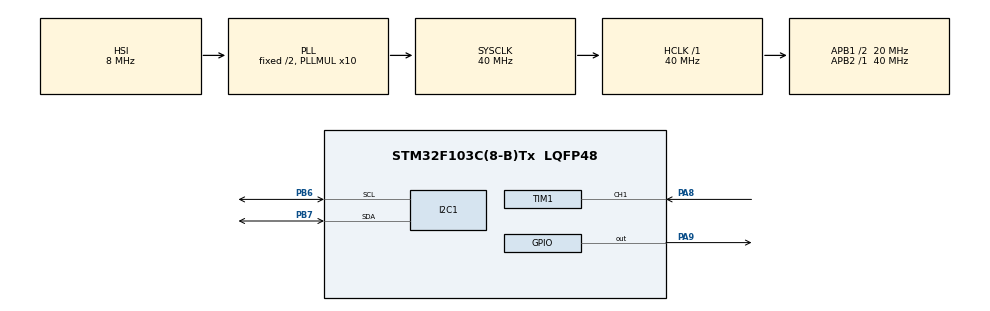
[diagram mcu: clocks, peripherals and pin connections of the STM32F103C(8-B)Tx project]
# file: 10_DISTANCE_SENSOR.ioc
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Mcu.Family=STM32F1
Mcu.Name=STM32F103C(8-B)Tx
Mcu.Package=LQFP48
NVIC.PriorityGroup=NVIC_PRIORITYGROUP_4
NVIC.TIM1_CC_IRQn=true\:0\:0\:false\:false\:true\:true\:true
PA13.Mode=Serial_Wire
PA13.Signal=SYS_JTMS-SWDIO
PA14.Mode=Serial_Wire
PA14.Signal=SYS_JTCK-SWCLK
PA8.Signal=S_TIM1_CH1
PA9.Signal=GPIO_Output
PB6.Mode=I2C
PB6.Signal=I2C1_SCL
PB7.Mode=I2C
PB7.Signal=I2C1_SDA
PD0-OSC_IN.Mode=HSE-External-Oscillator
PD0-OSC_IN.Signal=RCC_OSC_IN
PD1-OSC_OUT.Mode=HSE-External-Oscillator
PD1-OSC_OUT.Signal=RCC_OSC_OUT
ProjectManager.HeapSize=0x200
ProjectManager.StackSize=0x400
ProjectManager.TargetToolchain=MDK-ARM V5.27
RCC.AHBFreq_Value=40000000
RCC.APB1CLKDivider=RCC_HCLK_DIV2
RCC.APB1Freq_Value=20000000
RCC.APB1TimFreq_Value=40000000
RCC.APB2Freq_Value=40000000
RCC.APB2TimFreq_Value=40000000
RCC.HCLKFreq_Value=40000000
RCC.PLLMUL=RCC_PLL_MUL10
RCC.SYSCLKFreq_VALUE=40000000
RCC.SYSCLKSource=RCC_SYSCLKSOURCE_PLLCLK
RCC.USBFreq_Value=40000000
SH.S_TIM1_CH1.0=TIM1_CH1,Input_Capture1_from_TI1
TIM1.Channel-Input_Capture1_from_TI1=TIM_CHANNEL_1
TIM1.Period=0xffff-1
TIM1.Prescaler=72-1
board=custom

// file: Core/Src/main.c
/* USER CODE BEGIN Header */
/**
  ******************************************************************************
  * @file           : main.c
  * @brief          : Main program body
  ******************************************************************************
  * @attention
  *
  * <h2><center>&copy; Copyright (c) 2021 STMicroelectronics.
  * All rights reserved.</center></h2>
  *
  * This software component is licensed by ST under BSD 3-Clause license,
  * the "License"; You may not use this file except in compliance with the
  * License. You may obtain a copy of the License at:
  *                        opensource.org/licenses/BSD-3-Clause
  *
  ******************************************************************************
  */
/* USER CODE END Header */
#include "main.h"

/* USER CODE BEGIN Includes */
#include "stdio.h"

/* USER CODE END Includes */

/* USER CODE BEGIN PTD */
int uzaklik=Distance/10)+48
/* USER CODE END PTD */

/* USER CODE BEGIN PD */
uint32_t IC_Val1 = 0;
uint32_t IC_Val2 = 0;
uint32_t Difference = 0;
uint8_t Is_First_Captured = 0;  // is the first value captured ?
uint8_t Distance  = 0;

/* USER CODE END PD */

I2C_HandleTypeDef hi2c1;

TIM_HandleTypeDef htim1;

void SystemClock_Config(void);
static void MX_GPIO_Init(void);
static void MX_I2C1_Init(void);
static void MX_TIM1_Init(void);

/* USER CODE BEGIN 0 */
void HAL_TIM_IC_CaptureCallback(TIM_HandleTypeDef *htim)
{
	if (htim->Channel == HAL_TIM_ACTIVE_CHANNEL_1)  // if the interrupt source is channel1
	{
		if (Is_First_Captured==0) // if the first value is not captured
		{
			IC_Val1 = HAL_TIM_ReadCapturedValue(htim, TIM_CHANNEL_1); // read the first value
			Is_First_Captured = 1;  // set the first captured as true
			// Now change the polarity to falling edge
			__HAL_TIM_SET_CAPTUREPOLARITY(htim, TIM_CHANNEL_1, TIM_INPUTCHANNELPOLARITY_FALLING);
		}

		else if (Is_First_Captured==1)   // if the first is already captured
		{
			IC_Val2 = HAL_TIM_ReadCapturedValue(htim, TIM_CHANNEL_1);  // read second value
			__HAL_TIM_SET_COUNTER(htim, 0);  // reset the counter

			if (IC_Val2 > IC_Val1)
			{
				Difference = IC_Val2-IC_Val1;
			}

			else if (IC_Val1 > IC_Val2)
			{
				Difference = (0xffff - IC_Val1) + IC_Val2;
			}

			Distance = Difference * .034/2;
			Is_First_Captured = 0; // set it back to false

			// set polarity to rising edge
			__HAL_TIM_SET_CAPTUREPOLARITY(htim, TIM_CHANNEL_1, TIM_INPUTCHANNELPOLARITY_RISING);
			__HAL_TIM_DISABLE_IT(&htim1, TIM_IT_CC1);
		}
	}
}
void HCSR04_Read (void)
{
	HAL_GPIO_WritePin(GPIOA, GPIO_PIN_9, GPIO_PIN_SET);  // pull the TRIG pin HIGH
	HAL_Delay(10);  // wait for 10 us
	HAL_GPIO_WritePin(GPIOA, GPIO_PIN_9, GPIO_PIN_RESET);  // pull the TRIG pin low

	__HAL_TIM_ENABLE_IT(&htim1, TIM_IT_CC1);
}

/* USER CODE END 0 */

int main(void)
{

  /* MCU Configuration--------------------------------------------------------*/

  /* Reset of all peripherals, Initializes the Flash interface and the Systick. */
  HAL_Init();

  /* Configure the system clock */
  SystemClock_Config();

  /* Initialize all configured peripherals */
  MX_GPIO_Init();
  MX_I2C1_Init();
  MX_TIM1_Init();

  /* Infinite loop */
  while (1)
  {

    /* USER CODE BEGIN 3 */
		HCSR04_Read();
		printf("Distance:",(Distance/10)+48,"\n");
		printf("Distance2:",(Distance%10)+48,"\n");

		HAL_Delay(200);
  }

  /* USER CODE END 3 */
}

void SystemClock_Config(void)
{
  RCC_OscInitTypeDef RCC_OscInitStruct = {0};
  RCC_ClkInitTypeDef RCC_ClkInitStruct = {0};

  /** Initializes the RCC Oscillators according to the specified parameters
  * in the RCC_OscInitTypeDef structure.
  */
  RCC_OscInitStruct.OscillatorType = RCC_OSCILLATORTYPE_HSI;
  RCC_OscInitStruct.HSIState = RCC_HSI_ON;
  RCC_OscInitStruct.HSICalibrationValue = RCC_HSICALIBRATION_DEFAULT;
  RCC_OscInitStruct.PLL.PLLState = RCC_PLL_ON;
  RCC_OscInitStruct.PLL.PLLSource = RCC_PLLSOURCE_HSI_DIV2;
  RCC_OscInitStruct.PLL.PLLMUL = RCC_PLL_MUL10;
  if (HAL_RCC_OscConfig(&RCC_OscInitStruct) != HAL_OK)
  {
    Error_Handler();
  }
  /** Initializes the CPU, AHB and APB buses clocks
  */
  RCC_ClkInitStruct.ClockType = RCC_CLOCKTYPE_HCLK|RCC_CLOCKTYPE_SYSCLK
                              |RCC_CLOCKTYPE_PCLK1|RCC_CLOCKTYPE_PCLK2;
  RCC_ClkInitStruct.SYSCLKSource = RCC_SYSCLKSOURCE_PLLCLK;
  RCC_ClkInitStruct.AHBCLKDivider = RCC_SYSCLK_DIV1;
  RCC_ClkInitStruct.APB1CLKDivider = RCC_HCLK_DIV2;
  RCC_ClkInitStruct.APB2CLKDivider = RCC_HCLK_DIV1;

  if (HAL_RCC_ClockConfig(&RCC_ClkInitStruct, FLASH_LATENCY_1) != HAL_OK)
  {
    Error_Handler();
  }
}

static void MX_I2C1_Init(void)
{

  hi2c1.Instance = I2C1;
  hi2c1.Init.ClockSpeed = 100000;
  hi2c1.Init.DutyCycle = I2C_DUTYCYCLE_2;
  hi2c1.Init.OwnAddress1 = 0;
  hi2c1.Init.AddressingMode = I2C_ADDRESSINGMODE_7BIT;
  hi2c1.Init.DualAddressMode = I2C_DUALADDRESS_DISABLE;
  hi2c1.Init.OwnAddress2 = 0;
  hi2c1.Init.GeneralCallMode = I2C_GENERALCALL_DISABLE;
  hi2c1.Init.NoStretchMode = I2C_NOSTRETCH_DISABLE;
  if (HAL_I2C_Init(&hi2c1) != HAL_OK)
  {
    Error_Handler();
  }

}

static void MX_TIM1_Init(void)
{

  TIM_MasterConfigTypeDef sMasterConfig = {0};
  TIM_IC_InitTypeDef sConfigIC = {0};

  htim1.Instance = TIM1;
  htim1.Init.Prescaler = 72-1;
  htim1.Init.CounterMode = TIM_COUNTERMODE_UP;
  htim1.Init.Period = 0xffff-1;
  htim1.Init.ClockDivision = TIM_CLOCKDIVISION_DIV1;
  htim1.Init.RepetitionCounter = 0;
  htim1.Init.AutoReloadPreload = TIM_AUTORELOAD_PRELOAD_DISABLE;
  if (HAL_TIM_IC_Init(&htim1) != HAL_OK)
  {
    Error_Handler();
  }
  sMasterConfig.MasterOutputTrigger = TIM_TRGO_RESET;
  sMasterConfig.MasterSlaveMode = TIM_MASTERSLAVEMODE_DISABLE;
  if (HAL_TIMEx_MasterConfigSynchronization(&htim1, &sMasterConfig) != HAL_OK)
  {
    Error_Handler();
  }
  sConfigIC.ICPolarity = TIM_INPUTCHANNELPOLARITY_RISING;
  sConfigIC.ICSelection = TIM_ICSELECTION_DIRECTTI;
  sConfigIC.ICPrescaler = TIM_ICPSC_DIV1;
  sConfigIC.ICFilter = 0;
  if (HAL_TIM_IC_ConfigChannel(&htim1, &sConfigIC, TIM_CHANNEL_1) != HAL_OK)
  {
    Error_Handler();
  }

}

static void MX_GPIO_Init(void)
{
  GPIO_InitTypeDef GPIO_InitStruct = {0};

  /* GPIO Ports Clock Enable */
  __HAL_RCC_GPIOD_CLK_ENABLE();
  __HAL_RCC_GPIOA_CLK_ENABLE();
  __HAL_RCC_GPIOB_CLK_ENABLE();

  /*Configure GPIO pin Output Level */
  HAL_GPIO_WritePin(GPIOA, GPIO_PIN_9, GPIO_PIN_RESET);

  /*Configure GPIO pin : PA9 */
  GPIO_InitStruct.Pin = GPIO_PIN_9;
  GPIO_InitStruct.Mode = GPIO_MODE_OUTPUT_PP;
  GPIO_InitStruct.Pull = GPIO_NOPULL;
  GPIO_InitStruct.Speed = GPIO_SPEED_FREQ_LOW;
  HAL_GPIO_Init(GPIOA, &GPIO_InitStruct);

}

void Error_Handler(void)
{
  __disable_irq();
  while (1)
  {
  }
}

/************************ (C) COPYRIGHT STMicroelectronics *****END OF FILE****/
